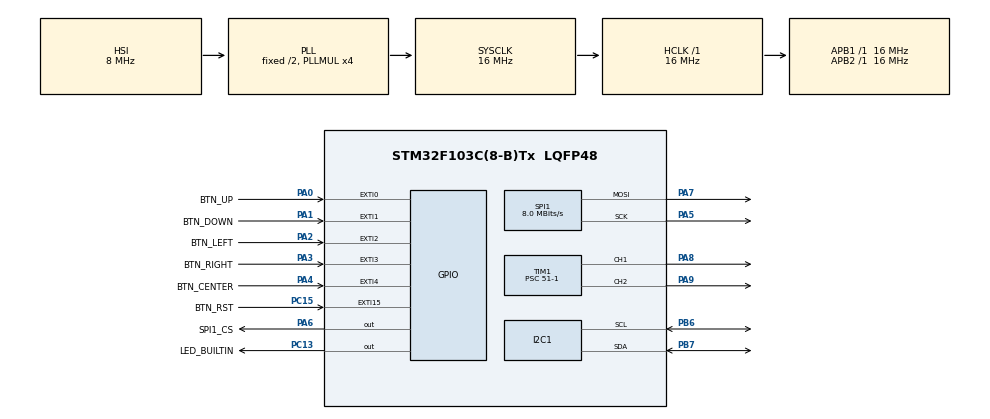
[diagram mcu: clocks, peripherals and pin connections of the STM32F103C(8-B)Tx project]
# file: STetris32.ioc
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I2C1.I2C_Mode=I2C_Fast
Mcu.Family=STM32F1
Mcu.Name=STM32F103C(8-B)Tx
Mcu.Package=LQFP48
NVIC.EXTI0_IRQn=true\:0\:0\:false\:false\:true\:true\:true
NVIC.EXTI15_10_IRQn=true\:0\:0\:false\:false\:true\:true\:true
NVIC.EXTI1_IRQn=true\:0\:0\:false\:false\:true\:true\:true
NVIC.EXTI2_IRQn=true\:0\:0\:false\:false\:true\:true\:true
NVIC.EXTI3_IRQn=true\:0\:0\:false\:false\:true\:true\:true
NVIC.EXTI4_IRQn=true\:0\:0\:false\:false\:true\:true\:true
NVIC.PriorityGroup=NVIC_PRIORITYGROUP_4
NVIC.TIM2_IRQn=true\:0\:0\:false\:false\:true\:true\:true
NVIC.TIM3_IRQn=true\:0\:0\:false\:false\:true\:true\:true
PA0-WKUP.GPIO_Label=BTN_UP
PA0-WKUP.GPIO_ModeDefaultEXTI=GPIO_MODE_IT_FALLING
PA0-WKUP.GPIO_PuPd=GPIO_PULLUP
PA0-WKUP.Signal=GPXTI0
PA1.GPIO_Label=BTN_DOWN
PA1.GPIO_ModeDefaultEXTI=GPIO_MODE_IT_FALLING
PA1.GPIO_PuPd=GPIO_PULLUP
PA1.Signal=GPXTI1
PA13.Mode=Serial_Wire
PA13.Signal=SYS_JTMS-SWDIO
PA14.Mode=Serial_Wire
PA14.Signal=SYS_JTCK-SWCLK
PA2.GPIO_Label=BTN_LEFT
PA2.GPIO_ModeDefaultEXTI=GPIO_MODE_IT_FALLING
PA2.GPIO_PuPd=GPIO_PULLUP
PA2.Signal=GPXTI2
PA3.GPIO_Label=BTN_RIGHT
PA3.GPIO_PuPd=GPIO_PULLUP
PA3.Signal=GPXTI3
PA4.GPIO_Label=BTN_CENTER
PA4.GPIO_ModeDefaultEXTI=GPIO_MODE_IT_FALLING
PA4.GPIO_PuPd=GPIO_PULLUP
PA4.Signal=GPXTI4
PA5.Mode=TX_Only_Simplex_Unidirect_Master
PA5.Signal=SPI1_SCK
PA6.GPIO_Label=SPI1_CS
PA6.Signal=GPIO_Output
PA7.Mode=TX_Only_Simplex_Unidirect_Master
PA7.Signal=SPI1_MOSI
PA8.Signal=S_TIM1_CH1
PA9.Signal=S_TIM1_CH2
PB6.Mode=I2C
PB6.Signal=I2C1_SCL
PB7.Mode=I2C
PB7.Signal=I2C1_SDA
PC13-TAMPER-RTC.GPIO_Label=LED_BUILTIN
PC13-TAMPER-RTC.Signal=GPIO_Output
PC15-OSC32_OUT.GPIO_Label=BTN_RST
PC15-OSC32_OUT.GPIO_ModeDefaultEXTI=GPIO_MODE_IT_FALLING
PC15-OSC32_OUT.GPIO_PuPd=GPIO_PULLUP
PC15-OSC32_OUT.Signal=GPXTI15
PD0-OSC_IN.Mode=HSE-External-Oscillator
PD0-OSC_IN.Signal=RCC_OSC_IN
PD1-OSC_OUT.Mode=HSE-External-Oscillator
PD1-OSC_OUT.Signal=RCC_OSC_OUT
ProjectManager.HeapSize=0x200
ProjectManager.StackSize=0x400
ProjectManager.TargetToolchain=STM32CubeIDE
RCC.AHBFreq_Value=16000000
RCC.APB1Freq_Value=16000000
RCC.APB1TimFreq_Value=16000000
RCC.APB2Freq_Value=16000000
RCC.APB2TimFreq_Value=16000000
RCC.HCLKFreq_Value=16000000
RCC.PLLMUL=RCC_PLL_MUL4
RCC.SYSCLKFreq_VALUE=16000000
RCC.SYSCLKSource=RCC_SYSCLKSOURCE_PLLCLK
RCC.USBFreq_Value=16000000
SH.S_TIM1_CH1.0=TIM1_CH1,Output Compare1 CH1
SH.S_TIM1_CH2.0=TIM1_CH2,Output Compare2 CH2
SPI1.CLKPolarity=SPI_POLARITY_LOW
SPI1.CalculateBaudRate=8.0 MBits/s
SPI1.Direction=SPI_DIRECTION_2LINES
SPI1.Mode=SPI_MODE_MASTER
SPI1.VirtualType=VM_MASTER
TIM1.Channel-Output\ Compare1\ CH1=TIM_CHANNEL_1
TIM1.Channel-Output\ Compare2\ CH2=TIM_CHANNEL_2
TIM1.OCMode_1=TIM_OCMODE_TOGGLE
TIM1.OCMode_2=TIM_OCMODE_TOGGLE
TIM1.Period=713-1
TIM1.Prescaler=51-1
TIM2.Period=40-1
TIM2.Prescaler=8000-1
TIM3.Period=1000-1
TIM3.Prescaler=1000-1
VP_TIM2_VS_ClockSourceINT.Mode=Internal
VP_TIM3_VS_ClockSourceINT.Mode=Internal
board=custom

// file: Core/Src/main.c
/* USER CODE BEGIN Header */
/**
  ******************************************************************************
  * @file           : main.c
  * @brief          : Main program body
  ******************************************************************************
  * @attention
  *
  * <h2><center>&copy; Copyright (c) 2021 STMicroelectronics.
  * All rights reserved.</center></h2>
  *
  * This software component is licensed by ST under BSD 3-Clause license,
  * the "License"; You may not use this file except in compliance with the
  * License. You may obtain a copy of the License at:
  *                        opensource.org/licenses/BSD-3-Clause
  *
  ******************************************************************************
  */
/* NOTAS
 * 1. Tratar como matriz grande de 16x8?
 * 2. Enviar matriz lower y matriz upper aprovechando dirección 0?
 *
 *
 *
 */
/* USER CODE END Header */
#include "main.h"

/* USER CODE BEGIN Includes */
#include <stdio.h>
#include <stdbool.h>
#include "ssd1306.h"
#include "fonts.h"
#include "test.h"
#include "sound.h"
#include "matrix.h"
/* USER CODE END Includes */

I2C_HandleTypeDef hi2c1;

SPI_HandleTypeDef hspi1;

TIM_HandleTypeDef htim1;
TIM_HandleTypeDef htim2;
TIM_HandleTypeDef htim3;

/* USER CODE BEGIN PV */

/*  Matrices Module */
extern row_t test_array[][8];
extern row_t figures_array[][8];
extern row_t matrix_buffer[8][8];

/*  Display Module */
uint32_t high_score = 9990;
char high_score_user[15];
char high_score_str[20];

/*  Audio Module */
extern uint16_t psc_array[];
extern uint16_t arr_array[];
extern uint8_t array_index;

extern const uint8_t melody[];
extern const size_t sizeof_melody;
extern uint8_t noteDurations[];

// General Purpose
bool center_flag = false;

/* USER CODE END PV */

void SystemClock_Config(void);
static void MX_GPIO_Init(void);
static void MX_SPI1_Init(void);
static void MX_I2C1_Init(void);
static void MX_TIM2_Init(void);
static void MX_TIM1_Init(void);
static void MX_TIM3_Init(void);
/* USER CODE BEGIN PFP */

// Interface
void update_player_score(int points);

/* USER CODE END PFP */

int main(void)
{

  /* MCU Configuration--------------------------------------------------------*/

  /* Reset of all peripherals, Initializes the Flash interface and the Systick. */
  HAL_Init();

  /* Configure the system clock */
  SystemClock_Config();

  /* Initialize all configured peripherals */
  MX_GPIO_Init();
  MX_SPI1_Init();
  MX_I2C1_Init();
  MX_TIM2_Init();
  MX_TIM1_Init();
  MX_TIM3_Init();
  /* USER CODE BEGIN 2 */

  // Matrices
  max_init();
  max_init();

  for(int i = 1 ; i < 9; i++){
	matrix_buffer[Upper][i-1] = figures_array[Upper][i-1];
	matrix_buffer[Lower][i-1] = figures_array[Lower][i-1];
	max_transfer_data(i, matrix_buffer[Upper][i-1], matrix_buffer[Lower][i-1]);
  }

  // LCD
  SSD1306_Init();
  SSD1306_Fill(0);

  SSD1306_GotoXY(25, 0);
  SSD1306_Puts("Welcome!", &Font_11x18, 1);
  SSD1306_GotoXY(30, 20);
  SSD1306_Puts("High Score", &Font_7x10, 1);

  SSD1306_GotoXY(0, 35);
  strcpy(high_score_user, "Hugo Perez");
  // snprintf(high_score_user, strlen("Hugo Perez") + 1, "Hugo Perez");
  sprintf(high_score_str, "%s - %05lu", high_score_user, high_score);
  SSD1306_Puts(high_score_str, &Font_7x10, 1);

  SSD1306_DrawLine(0, 32, 140, 32, 1);
  SSD1306_DrawLine(0, 45, 140, 45, 1);

  SSD1306_GotoXY(20, 50);
  SSD1306_Puts("Press Center", &Font_7x10, 1);

  SSD1306_UpdateScreen();

  int i = 0;
  /* USER CODE END 2 */

  /* Infinite loop */
  while (1)
  {

    /* USER CODE BEGIN 3 */
	  custom_tone(TIM_CHANNEL_1, melody[i], noteDurations[i]);
	  i = (i < sizeof_melody/sizeof(int) ? i + 1 : 0);
  }
  /* USER CODE END 3 */
}

void SystemClock_Config(void)
{
  RCC_OscInitTypeDef RCC_OscInitStruct = {0};
  RCC_ClkInitTypeDef RCC_ClkInitStruct = {0};

  /** Initializes the RCC Oscillators according to the specified parameters
  * in the RCC_OscInitTypeDef structure.
  */
  RCC_OscInitStruct.OscillatorType = RCC_OSCILLATORTYPE_HSI;
  RCC_OscInitStruct.HSIState = RCC_HSI_ON;
  RCC_OscInitStruct.HSICalibrationValue = RCC_HSICALIBRATION_DEFAULT;
  RCC_OscInitStruct.PLL.PLLState = RCC_PLL_ON;
  RCC_OscInitStruct.PLL.PLLSource = RCC_PLLSOURCE_HSI_DIV2;
  RCC_OscInitStruct.PLL.PLLMUL = RCC_PLL_MUL4;
  if (HAL_RCC_OscConfig(&RCC_OscInitStruct) != HAL_OK)
  {
    Error_Handler();
  }
  /** Initializes the CPU, AHB and APB buses clocks
  */
  RCC_ClkInitStruct.ClockType = RCC_CLOCKTYPE_HCLK|RCC_CLOCKTYPE_SYSCLK
                              |RCC_CLOCKTYPE_PCLK1|RCC_CLOCKTYPE_PCLK2;
  RCC_ClkInitStruct.SYSCLKSource = RCC_SYSCLKSOURCE_PLLCLK;
  RCC_ClkInitStruct.AHBCLKDivider = RCC_SYSCLK_DIV1;
  RCC_ClkInitStruct.APB1CLKDivider = RCC_HCLK_DIV1;
  RCC_ClkInitStruct.APB2CLKDivider = RCC_HCLK_DIV1;

  if (HAL_RCC_ClockConfig(&RCC_ClkInitStruct, FLASH_LATENCY_0) != HAL_OK)
  {
    Error_Handler();
  }
}

static void MX_I2C1_Init(void)
{

  hi2c1.Instance = I2C1;
  hi2c1.Init.ClockSpeed = 400000;
  hi2c1.Init.DutyCycle = I2C_DUTYCYCLE_2;
  hi2c1.Init.OwnAddress1 = 0;
  hi2c1.Init.AddressingMode = I2C_ADDRESSINGMODE_7BIT;
  hi2c1.Init.DualAddressMode = I2C_DUALADDRESS_DISABLE;
  hi2c1.Init.OwnAddress2 = 0;
  hi2c1.Init.GeneralCallMode = I2C_GENERALCALL_DISABLE;
  hi2c1.Init.NoStretchMode = I2C_NOSTRETCH_DISABLE;
  if (HAL_I2C_Init(&hi2c1) != HAL_OK)
  {
    Error_Handler();
  }

}

static void MX_SPI1_Init(void)
{

  /* SPI1 parameter configuration*/
  hspi1.Instance = SPI1;
  hspi1.Init.Mode = SPI_MODE_MASTER;
  hspi1.Init.Direction = SPI_DIRECTION_2LINES;
  hspi1.Init.DataSize = SPI_DATASIZE_8BIT;
  hspi1.Init.CLKPolarity = SPI_POLARITY_LOW;
  hspi1.Init.CLKPhase = SPI_PHASE_1EDGE;
  hspi1.Init.NSS = SPI_NSS_SOFT;
  hspi1.Init.BaudRatePrescaler = SPI_BAUDRATEPRESCALER_2;
  hspi1.Init.FirstBit = SPI_FIRSTBIT_MSB;
  hspi1.Init.TIMode = SPI_TIMODE_DISABLE;
  hspi1.Init.CRCCalculation = SPI_CRCCALCULATION_DISABLE;
  hspi1.Init.CRCPolynomial = 10;
  if (HAL_SPI_Init(&hspi1) != HAL_OK)
  {
    Error_Handler();
  }

}

static void MX_TIM1_Init(void)
{

  TIM_MasterConfigTypeDef sMasterConfig = {0};
  TIM_OC_InitTypeDef sConfigOC = {0};
  TIM_BreakDeadTimeConfigTypeDef sBreakDeadTimeConfig = {0};

  htim1.Instance = TIM1;
  htim1.Init.Prescaler = 51-1;
  htim1.Init.CounterMode = TIM_COUNTERMODE_UP;
  htim1.Init.Period = 713-1;
  htim1.Init.ClockDivision = TIM_CLOCKDIVISION_DIV1;
  htim1.Init.RepetitionCounter = 0;
  htim1.Init.AutoReloadPreload = TIM_AUTORELOAD_PRELOAD_DISABLE;
  if (HAL_TIM_OC_Init(&htim1) != HAL_OK)
  {
    Error_Handler();
  }
  sMasterConfig.MasterOutputTrigger = TIM_TRGO_RESET;
  sMasterConfig.MasterSlaveMode = TIM_MASTERSLAVEMODE_DISABLE;
  if (HAL_TIMEx_MasterConfigSynchronization(&htim1, &sMasterConfig) != HAL_OK)
  {
    Error_Handler();
  }
  sConfigOC.OCMode = TIM_OCMODE_TOGGLE;
  sConfigOC.Pulse = 0;
  sConfigOC.OCPolarity = TIM_OCPOLARITY_HIGH;
  sConfigOC.OCNPolarity = TIM_OCNPOLARITY_HIGH;
  sConfigOC.OCFastMode = TIM_OCFAST_DISABLE;
  sConfigOC.OCIdleState = TIM_OCIDLESTATE_RESET;
  sConfigOC.OCNIdleState = TIM_OCNIDLESTATE_RESET;
  if (HAL_TIM_OC_ConfigChannel(&htim1, &sConfigOC, TIM_CHANNEL_1) != HAL_OK)
  {
    Error_Handler();
  }
  if (HAL_TIM_OC_ConfigChannel(&htim1, &sConfigOC, TIM_CHANNEL_2) != HAL_OK)
  {
    Error_Handler();
  }
  sBreakDeadTimeConfig.OffStateRunMode = TIM_OSSR_DISABLE;
  sBreakDeadTimeConfig.OffStateIDLEMode = TIM_OSSI_DISABLE;
  sBreakDeadTimeConfig.LockLevel = TIM_LOCKLEVEL_OFF;
  sBreakDeadTimeConfig.DeadTime = 0;
  sBreakDeadTimeConfig.BreakState = TIM_BREAK_DISABLE;
  sBreakDeadTimeConfig.BreakPolarity = TIM_BREAKPOLARITY_HIGH;
  sBreakDeadTimeConfig.AutomaticOutput = TIM_AUTOMATICOUTPUT_DISABLE;
  if (HAL_TIMEx_ConfigBreakDeadTime(&htim1, &sBreakDeadTimeConfig) != HAL_OK)
  {
    Error_Handler();
  }
  HAL_TIM_MspPostInit(&htim1);

}

static void MX_TIM2_Init(void)
{

  TIM_ClockConfigTypeDef sClockSourceConfig = {0};
  TIM_MasterConfigTypeDef sMasterConfig = {0};

  htim2.Instance = TIM2;
  htim2.Init.Prescaler = 8000-1;
  htim2.Init.CounterMode = TIM_COUNTERMODE_UP;
  htim2.Init.Period = 40-1;
  htim2.Init.ClockDivision = TIM_CLOCKDIVISION_DIV1;
  htim2.Init.AutoReloadPreload = TIM_AUTORELOAD_PRELOAD_DISABLE;
  if (HAL_TIM_Base_Init(&htim2) != HAL_OK)
  {
    Error_Handler();
  }
  sClockSourceConfig.ClockSource = TIM_CLOCKSOURCE_INTERNAL;
  if (HAL_TIM_ConfigClockSource(&htim2, &sClockSourceConfig) != HAL_OK)
  {
    Error_Handler();
  }
  sMasterConfig.MasterOutputTrigger = TIM_TRGO_RESET;
  sMasterConfig.MasterSlaveMode = TIM_MASTERSLAVEMODE_DISABLE;
  if (HAL_TIMEx_MasterConfigSynchronization(&htim2, &sMasterConfig) != HAL_OK)
  {
    Error_Handler();
  }

}

static void MX_TIM3_Init(void)
{

  TIM_ClockConfigTypeDef sClockSourceConfig = {0};
  TIM_MasterConfigTypeDef sMasterConfig = {0};

  htim3.Instance = TIM3;
  htim3.Init.Prescaler = 1000-1;
  htim3.Init.CounterMode = TIM_COUNTERMODE_UP;
  htim3.Init.Period = 1000-1;
  htim3.Init.ClockDivision = TIM_CLOCKDIVISION_DIV1;
  htim3.Init.AutoReloadPreload = TIM_AUTORELOAD_PRELOAD_DISABLE;
  if (HAL_TIM_Base_Init(&htim3) != HAL_OK)
  {
    Error_Handler();
  }
  sClockSourceConfig.ClockSource = TIM_CLOCKSOURCE_INTERNAL;
  if (HAL_TIM_ConfigClockSource(&htim3, &sClockSourceConfig) != HAL_OK)
  {
    Error_Handler();
  }
  sMasterConfig.MasterOutputTrigger = TIM_TRGO_RESET;
  sMasterConfig.MasterSlaveMode = TIM_MASTERSLAVEMODE_DISABLE;
  if (HAL_TIMEx_MasterConfigSynchronization(&htim3, &sMasterConfig) != HAL_OK)
  {
    Error_Handler();
  }

}

static void MX_GPIO_Init(void)
{
  GPIO_InitTypeDef GPIO_InitStruct = {0};

  /* GPIO Ports Clock Enable */
  __HAL_RCC_GPIOC_CLK_ENABLE();
  __HAL_RCC_GPIOD_CLK_ENABLE();
  __HAL_RCC_GPIOA_CLK_ENABLE();
  __HAL_RCC_GPIOB_CLK_ENABLE();

  /*Configure GPIO pin Output Level */
  HAL_GPIO_WritePin(LED_BUILTIN_GPIO_Port, LED_BUILTIN_Pin, GPIO_PIN_RESET);

  /*Configure GPIO pin Output Level */
  HAL_GPIO_WritePin(SPI1_CS_GPIO_Port, SPI1_CS_Pin, GPIO_PIN_RESET);

  /*Configure GPIO pin : LED_BUILTIN_Pin */
  GPIO_InitStruct.Pin = LED_BUILTIN_Pin;
  GPIO_InitStruct.Mode = GPIO_MODE_OUTPUT_PP;
  GPIO_InitStruct.Pull = GPIO_NOPULL;
  GPIO_InitStruct.Speed = GPIO_SPEED_FREQ_LOW;
  HAL_GPIO_Init(LED_BUILTIN_GPIO_Port, &GPIO_InitStruct);

  /*Configure GPIO pin : BTN_RST_Pin */
  GPIO_InitStruct.Pin = BTN_RST_Pin;
  GPIO_InitStruct.Mode = GPIO_MODE_IT_FALLING;
  GPIO_InitStruct.Pull = GPIO_PULLUP;
  HAL_GPIO_Init(BTN_RST_GPIO_Port, &GPIO_InitStruct);

  /*Configure GPIO pins : BTN_UP_Pin BTN_DOWN_Pin BTN_LEFT_Pin BTN_CENTER_Pin */
  GPIO_InitStruct.Pin = BTN_UP_Pin|BTN_DOWN_Pin|BTN_LEFT_Pin|BTN_CENTER_Pin;
  GPIO_InitStruct.Mode = GPIO_MODE_IT_FALLING;
  GPIO_InitStruct.Pull = GPIO_PULLUP;
  HAL_GPIO_Init(GPIOA, &GPIO_InitStruct);

  /*Configure GPIO pin : BTN_RIGHT_Pin */
  GPIO_InitStruct.Pin = BTN_RIGHT_Pin;
  GPIO_InitStruct.Mode = GPIO_MODE_IT_RISING;
  GPIO_InitStruct.Pull = GPIO_PULLUP;
  HAL_GPIO_Init(BTN_RIGHT_GPIO_Port, &GPIO_InitStruct);

  /*Configure GPIO pin : SPI1_CS_Pin */
  GPIO_InitStruct.Pin = SPI1_CS_Pin;
  GPIO_InitStruct.Mode = GPIO_MODE_OUTPUT_PP;
  GPIO_InitStruct.Pull = GPIO_NOPULL;
  GPIO_InitStruct.Speed = GPIO_SPEED_FREQ_LOW;
  HAL_GPIO_Init(SPI1_CS_GPIO_Port, &GPIO_InitStruct);

  /* EXTI interrupt init*/
  HAL_NVIC_SetPriority(EXTI0_IRQn, 0, 0);
  HAL_NVIC_EnableIRQ(EXTI0_IRQn);

  HAL_NVIC_SetPriority(EXTI1_IRQn, 0, 0);
  HAL_NVIC_EnableIRQ(EXTI1_IRQn);

  HAL_NVIC_SetPriority(EXTI2_IRQn, 0, 0);
  HAL_NVIC_EnableIRQ(EXTI2_IRQn);

  HAL_NVIC_SetPriority(EXTI3_IRQn, 0, 0);
  HAL_NVIC_EnableIRQ(EXTI3_IRQn);

  HAL_NVIC_SetPriority(EXTI4_IRQn, 0, 0);
  HAL_NVIC_EnableIRQ(EXTI4_IRQn);

  HAL_NVIC_SetPriority(EXTI15_10_IRQn, 0, 0);
  HAL_NVIC_EnableIRQ(EXTI15_10_IRQn);

}

/* USER CODE BEGIN 4 */
void max_transfer_command(uint8_t address, uint8_t data){
	HAL_GPIO_WritePin(SPI1_CS_GPIO_Port, SPI1_CS_Pin, GPIO_PIN_RESET);
	HAL_SPI_Transmit(&hspi1, &address, 1, 100);
	HAL_SPI_Transmit(&hspi1, &data, 1, 100);
	HAL_GPIO_WritePin(SPI1_CS_GPIO_Port, SPI1_CS_Pin, GPIO_PIN_SET);
}
void max_transfer_data(uint8_t address, uint8_t data, uint8_t data_2){
	HAL_GPIO_WritePin(SPI1_CS_GPIO_Port, SPI1_CS_Pin, GPIO_PIN_RESET);
	HAL_SPI_Transmit(&hspi1, &address, 1, 100);
	HAL_SPI_Transmit(&hspi1, &data, 1, 100);							// Upper
	HAL_SPI_Transmit(&hspi1, &address, 1, 100);
	HAL_SPI_Transmit(&hspi1, &data_2, 1, 100);							// Lower
	HAL_GPIO_WritePin(SPI1_CS_GPIO_Port, SPI1_CS_Pin, GPIO_PIN_SET);
}

void shift_matrix_content(uint8_t direction){
	row_t tmp_row;
	switch(direction){
	case up:
		  HAL_GPIO_TogglePin(LED_BUILTIN_GPIO_Port, LED_BUILTIN_Pin);
		  // Pending rotations
			for(int i = 1 ; i < 9; i++){
				matrix_buffer[Upper][i-1] = test_array[Upper][i-1];
				matrix_buffer[Lower][i-1] = test_array[Lower][i-1];
				max_transfer_data(i, matrix_buffer[Upper][i-1], matrix_buffer[Lower][i-1]);
			}
		break;
	case down:
		HAL_GPIO_TogglePin(LED_BUILTIN_GPIO_Port, LED_BUILTIN_Pin);

		tmp_row = matrix_buffer[Upper][0];

		for(int i = 1 ; i < 8; i++){
			matrix_buffer[Upper][i-1] = matrix_buffer[Upper][i];
			matrix_buffer[Lower][i-1] = matrix_buffer[Lower][i];
			max_transfer_data(i, matrix_buffer[Upper][i-1], matrix_buffer[Lower][i-1]);
		}
		matrix_buffer[Upper][7] = 0b00000000;
		matrix_buffer[Lower][7] = tmp_row;
		max_transfer_data(8, matrix_buffer[Upper][7], matrix_buffer[Lower][7]);
		break;
	case left:
		  HAL_GPIO_TogglePin(LED_BUILTIN_GPIO_Port, LED_BUILTIN_Pin);
		  for(int i = 1; i < 9; i++){
			matrix_buffer[Upper][i-1] = matrix_buffer[Upper][i-1] >> 1;
			matrix_buffer[Lower][i-1] = matrix_buffer[Lower][i-1] >> 1;
			max_transfer_data(i, matrix_buffer[Upper][i-1], matrix_buffer[Lower][i-1]);
		  }

		break;
	case right:
		  HAL_GPIO_TogglePin(LED_BUILTIN_GPIO_Port, LED_BUILTIN_Pin);
		  for(int i = 1; i < 9; i++){
			matrix_buffer[Upper][i-1] = matrix_buffer[Upper][i-1] << 1;
			matrix_buffer[Lower][i-1] = matrix_buffer[Lower][i-1] << 1;
			max_transfer_data(i, matrix_buffer[Upper][i-1], matrix_buffer[Lower][i-1]);
		  }
		break;
	}

}
void update_player_score(int points){
	high_score += points;
	SSD1306_GotoXY(0, 35);
	sprintf(high_score_str, "%s - %05lu", high_score_user, high_score);
	SSD1306_Puts(high_score_str, &Font_7x10, 1);
	SSD1306_UpdateScreen();
}

void custom_tone(uint32_t channel, uint8_t tone, uint8_t duration){
	  htim1.Init.Prescaler = psc_array[tone]-1;
	  htim1.Init.Period = arr_array[tone]-1;
	  HAL_TIM_Base_Init(&htim1);
	  HAL_TIM_PWM_Start(&htim1, TIM_CHANNEL_1);
	  HAL_TIM_PWM_Start(&htim1, TIM_CHANNEL_2);

	  htim3.Init.Prescaler = (1000*1.3)-1;
	  htim3.Init.Period = (1000/duration)-1;
	  HAL_Delay(200);
	  HAL_TIM_Base_Start_IT(&htim3);
}

void HAL_GPIO_EXTI_Callback(uint16_t GPIO_Pin){
	if(GPIO_Pin == BTN_UP_Pin) HAL_TIM_Base_Start_IT(&htim2);
	if(GPIO_Pin == BTN_DOWN_Pin) HAL_TIM_Base_Start_IT(&htim2);
	if(GPIO_Pin == BTN_LEFT_Pin) HAL_TIM_Base_Start_IT(&htim2);
	if(GPIO_Pin == BTN_RIGHT_Pin) HAL_TIM_Base_Start_IT(&htim2);
	if(GPIO_Pin == BTN_CENTER_Pin) HAL_TIM_Base_Start_IT(&htim2);
	if(GPIO_Pin == BTN_RST_Pin) HAL_TIM_Base_Start_IT(&htim2);

}
void HAL_TIM_PeriodElapsedCallback(TIM_HandleTypeDef *htim){
  /* Prevent unused argument(s) compilation warning */
  if(htim == &htim2){

	  if(!HAL_GPIO_ReadPin(BTN_UP_GPIO_Port, BTN_UP_Pin)){
		  update_player_score(1);
		  shift_matrix_content(up);
		  HAL_TIM_Base_Stop(&htim2);
	  }
	  if(!HAL_GPIO_ReadPin(BTN_DOWN_GPIO_Port, BTN_DOWN_Pin)){
		  update_player_score(-1);
		  shift_matrix_content(down);
		  HAL_TIM_Base_Stop(&htim2);
	  }
	  if(!HAL_GPIO_ReadPin(BTN_LEFT_GPIO_Port, BTN_LEFT_Pin)){
		  shift_matrix_content(left);
		  HAL_TIM_Base_Stop(&htim2);
	  }
	  if(!HAL_GPIO_ReadPin(BTN_RIGHT_GPIO_Port, BTN_RIGHT_Pin)){
		  shift_matrix_content(right);
		  HAL_TIM_Base_Stop(&htim2);
	  }
	  if(!HAL_GPIO_ReadPin(BTN_CENTER_GPIO_Port, BTN_CENTER_Pin)){
		  HAL_GPIO_TogglePin(LED_BUILTIN_GPIO_Port, LED_BUILTIN_Pin);
		  center_flag = true;

		  HAL_TIM_Base_Stop(&htim2);
	  }
	  if(!HAL_GPIO_ReadPin(BTN_RST_GPIO_Port, BTN_RST_Pin)){
		  HAL_GPIO_TogglePin(LED_BUILTIN_GPIO_Port, LED_BUILTIN_Pin);
		  HAL_TIM_Base_Stop(&htim2);
	  }

  }
  if(htim == &htim3){
	  	  HAL_TIM_Base_Stop(&htim3);
  }
}
/* USER CODE END 4 */

void Error_Handler(void)
{
}

/************************ (C) COPYRIGHT STMicroelectronics *****END OF FILE****/
